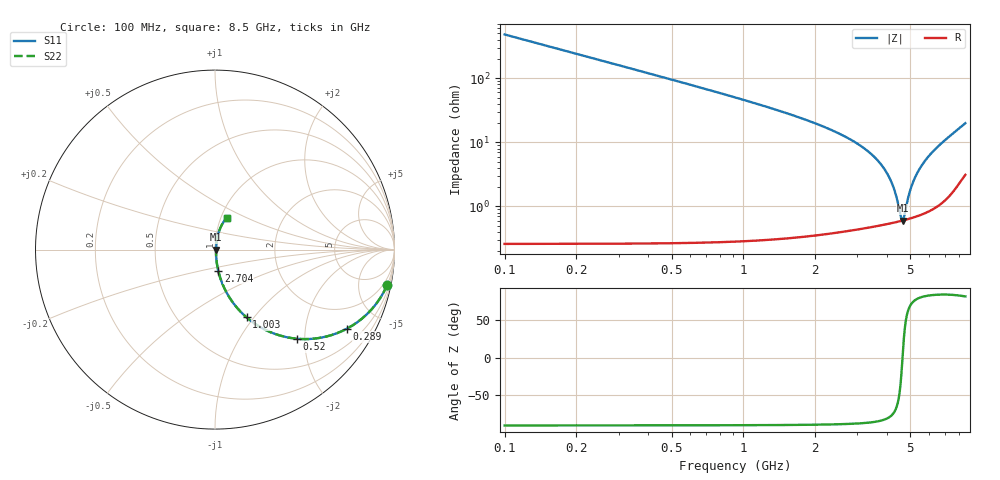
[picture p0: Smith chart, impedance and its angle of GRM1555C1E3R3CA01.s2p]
!Murata Part Number: GRM1555C1E3R3CA01
!These Parameters are Measured in Series Mode Connection
!Data Generated on Mar 30, 2021
!  o--ll--o
!Port1  Port2
!  o------o
!Operation Temp=25[degC], DC Bias Voltage=0[V]
!Freq. Start=100[MHz] Stop=9[GHz] 401[Steps]
# Hz S RI R 50
!Freq.(Hz) S11(Real) S11(Imag) S21(Real) S21(Imag) S12(Real) S12(Imag) S22(Real) S22(Imag)
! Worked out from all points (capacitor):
!   401 points, 100 MHz to 8.5 GHz, reference 50 ohm
!   read as one part in series: C = 3.3 pF near 142 MHz
!   lowest |Z| = 602 mohm at 4.636 GHz (marker M1)
!   series resonance near 4.636 GHz, so ESL is about 360 pH
!   S11 on the Smith chart (normalised r, x): 100 MHz: 1.01, -9.64; 289 MHz: 1.01, -3.33; 520 MHz: 1.01, -1.83; 1.003 GHz: 1.01, -0.92; 2.704 GHz: 1.01, -0.24; 8.5 GHz: 1.06, +0.39
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1e8  0.9586 -0.1988  0.0414 0.1988  0.0414 0.1988  0.9586 -0.1988
2.05e8  0.8462 -0.3602  0.1538 0.3602  0.1538 0.3602  0.8462 -0.3602
2.89e8  0.734 -0.4411  0.266 0.4411  0.266 0.4411  0.734 -0.4411
5.2e8  0.4565 -0.4966  0.5435 0.4966  0.5435 0.4966  0.4565 -0.4966
7.3e8  0.2945 -0.4537  0.7055 0.4537  0.7055 0.4537  0.2945 -0.4537
1.003e9  0.1756 -0.3774  0.8244 0.3774  0.8244 0.3774  0.1756 -0.3774
1.507e9  0.0788 -0.2639  0.9212 0.2639  0.9212 0.2639  0.0788 -0.2639
2.704e9  0.018 -0.117  0.982 0.117  0.982 0.117  0.018 -0.117
2.914e9  0.0144 -0.1002  0.9856 0.1002  0.9856 0.1002  0.0144 -0.1002
3.775e9  0.00702 -0.0441  0.993 0.0441  0.993 0.0441  0.00702 -0.0441
4.069e9  0.00615 -0.0281  0.9939 0.0281  0.9939 0.0281  0.00615 -0.0281
4.3e9  0.00586 -0.0163  0.9941 0.0163  0.9941 0.0163  0.00586 -0.0163
4.573e9  0.00591 -0.00298  0.9941 0.00298  0.9941 0.00298  0.00591 -0.00298
4.636e9  0.00598 8.1e-06  0.994 -8.1e-06  0.994 -8.1e-06  0.00598 8.1e-06
4.699e9  0.00607 0.00297  0.9939 -0.00297  0.9939 -0.00297  0.00607 0.00297
4.93e9  0.00655 0.0136  0.9935 -0.0136  0.9935 -0.0136  0.00655 0.0136
5.098e9  0.00705 0.0212  0.9929 -0.0212  0.9929 -0.0212  0.00705 0.0212
5.371e9  0.00815 0.0332  0.9919 -0.0332  0.9919 -0.0332  0.00815 0.0332
5.707e9  0.00998 0.0478  0.99 -0.0478  0.99 -0.0478  0.00998 0.0478
6.295e9  0.0146 0.0732  0.9854 -0.0732  0.9854 -0.0732  0.0146 0.0732
7.114e9  0.0254 0.1098  0.9746 -0.1098  0.9746 -0.1098  0.0254 0.1098
8.5e9  0.0643 0.1786  0.9357 -0.1786  0.9357 -0.1786  0.0643 0.1786
